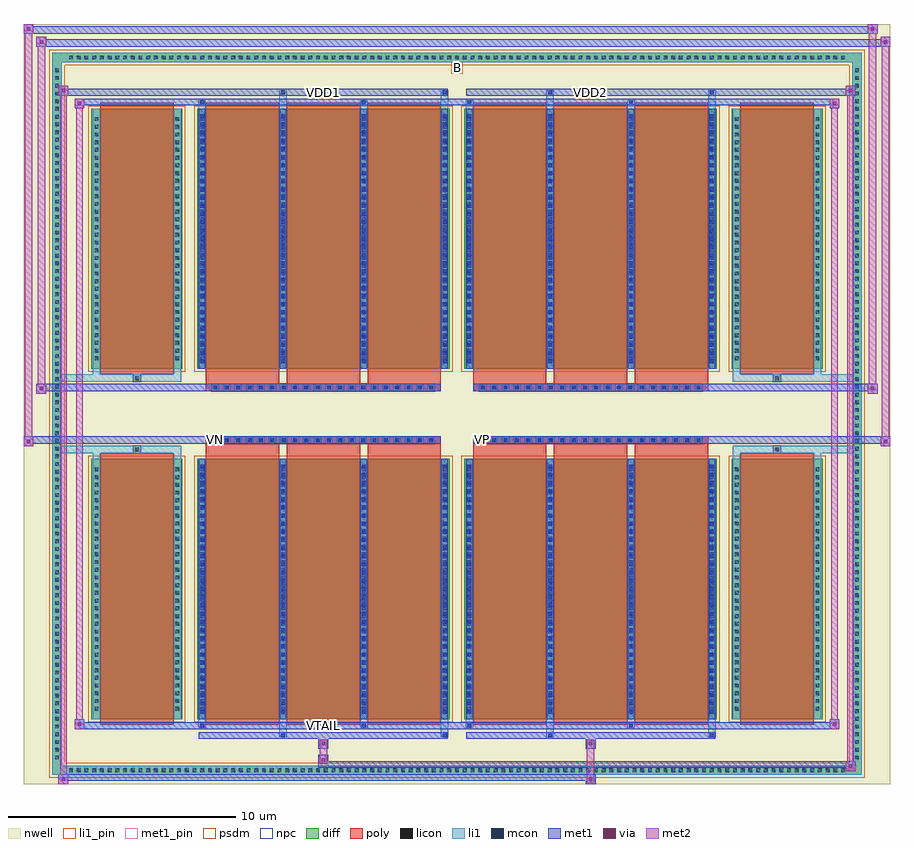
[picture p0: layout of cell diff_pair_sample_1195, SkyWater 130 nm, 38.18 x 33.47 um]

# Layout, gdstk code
import gdstk
lib = gdstk.Library(unit=1e-6, precision=5e-09)
def R(c, l, rs):  # rectangles x0, y0, x1, y1
    for r in rs: c.add(gdstk.rectangle(r[:2], r[2:], *l))
def A(c, l, x, y, w, h, nx, ny, dx, dy):  # array of equal rectangles
    R(c, l, [(x+i*dx, y+j*dy, x+i*dx+w, y+j*dy+h) for i in range(nx) for j in range(ny)])
def P(c, l, *ps):  # polygons
    for p in ps: c.add(gdstk.Polygon(p, *l))
nwell = (64, 20)
diff = (65, 20)
poly = (66, 20)
licon = (66, 44)
li1_pin = (67, 16)
li1 = (67, 20)
mcon = (67, 44)
met1_pin = (68, 16)
met1 = (68, 20)
via = (68, 44)
met2 = (69, 20)
psdm = (94, 20)
npc = (95, 20)

diff_pair_sample_1195 = lib.new_cell('diff_pair_sample_1195')
R(diff_pair_sample_1195, nwell, [(-19.09,-16.3,19.09,17.17), (-16.41,-14.49,-0.01,-0.795), (0.01,-14.49,16.41,-0.795), (-16.41,0.795,-0.01,14.49), (0.01,0.795,16.41,14.49)])
A(diff_pair_sample_1195, diff, -17.205, -15.9, 0.41, 0.41, 101, 2, 0.34, 31.39)
A(diff_pair_sample_1195, diff, -17.82, -15.335, 0.41, 0.41, 1, 90, 0, 0.34)
A(diff_pair_sample_1195, diff, 17.41, -15.335, 0.41, 0.41, 1, 90, 0, 0.34)
R(diff_pair_sample_1195, diff, [(-17.205,-15.9,17.205,-15.49), (-17.82,-15.335,-17.41,15.335), (17.41,-15.335,17.82,15.335), (-16.1,-13.445,-12.09,-1.985), (-11.45,-13.445,-0.32,-1.985), (0.32,-13.445,11.45,-1.985), (12.09,-13.445,16.1,-1.985), (-16.1,1.985,-12.09,13.445), (-11.45,1.985,-0.32,13.445), (0.32,1.985,11.45,13.445), (12.09,1.985,16.1,13.445), (-17.205,15.49,17.205,15.9)])
P(diff_pair_sample_1195, diff, [(17.82,15.9),(-17.82,15.9),(-17.82,-15.49),(-17.41,-15.49),(-17.41,15.49),(17.41,15.49),(17.41,-15.49),(-17.41,-15.49),(-17.82,-15.49),(-17.82,-15.9),(17.82,-15.9)])
A(diff_pair_sample_1195, poly, -11.06, -13.695, 3.23, 11.96, 3, 2, 3.56, 15.43)
A(diff_pair_sample_1195, poly, 0.71, -13.695, 3.23, 11.96, 3, 2, 3.56, 15.43)
A(diff_pair_sample_1195, poly, -11.06, -1.735, 3.23, 0.41, 3, 2, 3.56, 3.06)
A(diff_pair_sample_1195, poly, 0.71, -1.735, 3.23, 0.41, 3, 2, 3.56, 3.06)
A(diff_pair_sample_1195, poly, -10.8, -1.325, 0.33, 0.33, 20, 2, 0.5, 2.32)
A(diff_pair_sample_1195, poly, 0.97, -1.325, 0.33, 0.33, 20, 2, 0.5, 2.32)
R(diff_pair_sample_1195, poly, [(-15.71,-13.695,-12.48,-1.735), (12.48,-13.695,15.71,-1.735), (-14.26,-1.735,-13.93,-1.405), (-14.26,-1.735,-13.93,-1.405), (13.93,-1.735,14.26,-1.405), (13.93,-1.735,14.26,-1.405), (-11.06,-1.325,-0.71,-0.995), (0.71,-1.325,11.06,-0.995), (-11.06,0.995,-0.71,1.325), (0.71,0.995,11.06,1.325), (-14.26,1.405,-13.93,1.735), (-14.26,1.405,-13.93,1.735), (13.93,1.405,14.26,1.735), (13.93,1.405,14.26,1.735), (-15.71,1.735,-12.48,13.695), (12.48,1.735,15.71,13.695)])
A(diff_pair_sample_1195, licon, -17.085, -15.78, 0.17, 0.17, 101, 2, 0.34, 31.39)
A(diff_pair_sample_1195, licon, -17.7, -15.215, 0.17, 0.17, 1, 90, 0, 0.34)
A(diff_pair_sample_1195, licon, 17.53, -15.215, 0.17, 0.17, 1, 90, 0, 0.34)
A(diff_pair_sample_1195, licon, -15.96, -13.07, 0.17, 0.17, 1, 32, 0, 0.34)
A(diff_pair_sample_1195, licon, -12.4, -13.07, 0.17, 0.17, 1, 32, 0, 0.34)
A(diff_pair_sample_1195, licon, -11.31, -13.07, 0.17, 0.17, 4, 32, 3.56, 0.34)
A(diff_pair_sample_1195, licon, 0.46, -13.07, 0.17, 0.17, 4, 32, 3.56, 0.34)
A(diff_pair_sample_1195, licon, 12.23, -13.07, 0.17, 0.17, 1, 32, 0, 0.34)
A(diff_pair_sample_1195, licon, 15.79, -13.07, 0.17, 0.17, 1, 32, 0, 0.34)
A(diff_pair_sample_1195, licon, -10.72, -1.245, 0.17, 0.17, 20, 2, 0.5, 2.32)
A(diff_pair_sample_1195, licon, 1.05, -1.245, 0.17, 0.17, 20, 2, 0.5, 2.32)
A(diff_pair_sample_1195, licon, -15.96, 2.36, 0.17, 0.17, 1, 32, 0, 0.34)
A(diff_pair_sample_1195, licon, -12.4, 2.36, 0.17, 0.17, 1, 32, 0, 0.34)
A(diff_pair_sample_1195, licon, -11.31, 2.36, 0.17, 0.17, 4, 32, 3.56, 0.34)
A(diff_pair_sample_1195, licon, 0.46, 2.36, 0.17, 0.17, 4, 32, 3.56, 0.34)
A(diff_pair_sample_1195, licon, 12.23, 2.36, 0.17, 0.17, 1, 32, 0, 0.34)
A(diff_pair_sample_1195, licon, 15.79, 2.36, 0.17, 0.17, 1, 32, 0, 0.34)
R(diff_pair_sample_1195, licon, [(-14.18,-1.655,-14.01,-1.485), (14.01,-1.655,14.18,-1.485), (-14.18,1.485,-14.01,1.655), (14.01,1.485,14.18,1.655)])
R(diff_pair_sample_1195, li1_pin, [(-0.25,14.99,0.25,15.49)])
A(diff_pair_sample_1195, li1, -17.165, -15.86, 0.33, 0.33, 101, 2, 0.34, 31.39)
A(diff_pair_sample_1195, li1, -17.78, -15.295, 0.33, 0.33, 1, 90, 0, 0.34)
A(diff_pair_sample_1195, li1, 17.45, -15.295, 0.33, 0.33, 1, 90, 0, 0.34)
A(diff_pair_sample_1195, li1, -11.39, -13.445, 0.33, 11.46, 4, 2, 3.56, 15.43)
A(diff_pair_sample_1195, li1, 0.38, -13.445, 0.33, 11.46, 4, 2, 3.56, 15.43)
A(diff_pair_sample_1195, li1, -11.31, -13.2, 0.17, 0.17, 4, 31, 3.56, 0.36)
A(diff_pair_sample_1195, li1, -11.31, -13.2, 0.17, 10.97, 4, 2, 3.56, 15.43)
A(diff_pair_sample_1195, li1, 0.46, -13.2, 0.17, 0.17, 4, 31, 3.56, 0.36)
A(diff_pair_sample_1195, li1, 0.46, -13.2, 0.17, 10.97, 4, 2, 3.56, 15.43)
A(diff_pair_sample_1195, li1, -16.04, -13.15, 0.33, 0.33, 1, 32, 0, 0.34)
A(diff_pair_sample_1195, li1, -12.48, -13.15, 0.33, 0.33, 1, 32, 0, 0.34)
A(diff_pair_sample_1195, li1, -11.39, -13.15, 0.33, 0.33, 4, 32, 3.56, 0.34)
A(diff_pair_sample_1195, li1, 0.38, -13.15, 0.33, 0.33, 4, 32, 3.56, 0.34)
A(diff_pair_sample_1195, li1, 12.15, -13.15, 0.33, 0.33, 1, 32, 0, 0.34)
A(diff_pair_sample_1195, li1, 15.71, -13.15, 0.33, 0.33, 1, 32, 0, 0.34)
A(diff_pair_sample_1195, li1, -10.8, -1.325, 0.33, 0.33, 20, 2, 0.5, 2.32)
A(diff_pair_sample_1195, li1, 0.97, -1.325, 0.33, 0.33, 20, 2, 0.5, 2.32)
A(diff_pair_sample_1195, li1, -11.31, 2.23, 0.17, 0.17, 4, 31, 3.56, 0.36)
A(diff_pair_sample_1195, li1, 0.46, 2.23, 0.17, 0.17, 4, 31, 3.56, 0.36)
A(diff_pair_sample_1195, li1, -16.04, 2.28, 0.33, 0.33, 1, 32, 0, 0.34)
A(diff_pair_sample_1195, li1, -12.48, 2.28, 0.33, 0.33, 1, 32, 0, 0.34)
A(diff_pair_sample_1195, li1, -11.39, 2.28, 0.33, 0.33, 4, 32, 3.56, 0.34)
A(diff_pair_sample_1195, li1, 0.38, 2.28, 0.33, 0.33, 4, 32, 3.56, 0.34)
A(diff_pair_sample_1195, li1, 12.15, 2.28, 0.33, 0.33, 1, 32, 0, 0.34)
A(diff_pair_sample_1195, li1, 15.71, 2.28, 0.33, 0.33, 1, 32, 0, 0.34)
R(diff_pair_sample_1195, li1, [(-17.82,-15.9,-17.41,-15.49), (-17.82,-15.9,-17.41,-15.49), (-17.41,-15.9,17.41,-15.49), (17.41,-15.9,17.82,-15.49), (17.41,-15.9,17.82,-15.49), (-17.82,-15.49,-17.41,15.49), (17.41,-15.49,17.82,15.49), (-7.83,-14.25,-7.5,-13.445), (-7.75,-14.25,-7.58,-14.08), (-0.71,-14.25,-0.38,-13.445), (-0.63,-14.25,-0.46,-14.08), (3.94,-14.25,4.27,-13.445), (4.02,-14.25,4.19,-14.08), (11.06,-14.25,11.39,-13.445), (11.14,-14.25,11.31,-14.08), (-11.39,-13.82,-11.06,-13.445), (-11.31,-13.82,-11.14,-13.65), (-4.27,-13.82,-3.94,-13.445), (-4.19,-13.82,-4.02,-13.65), (0.38,-13.82,0.71,-13.445), (0.46,-13.82,0.63,-13.65), (7.5,-13.82,7.83,-13.445), (7.58,-13.82,7.75,-13.65), (-16.04,-13.445,-15.71,-1.985), (-12.48,-13.445,-12.15,-1.985), (12.15,-13.445,12.48,-1.985), (15.71,-13.445,16.04,-1.985), (-16.04,-1.985,-15.71,-1.405), (-12.48,-1.985,-12.15,-1.405), (12.15,-1.985,12.48,-1.405), (15.71,-1.985,16.04,-1.405), (-17.82,-1.735,-14.26,-1.405), (-16.04,-1.735,-14.26,-1.405), (-14.26,-1.735,-13.93,-1.405), (-13.93,-1.735,-12.15,-1.405), (12.15,-1.735,13.93,-1.405), (13.93,-1.735,14.26,-1.405), (13.93,-1.735,17.82,-1.405), (14.26,-1.735,16.04,-1.405), (-17.82,1.405,-14.26,1.735), (-16.04,1.405,-14.26,1.735), (-16.04,1.405,-15.71,1.985), (-14.26,1.405,-13.93,1.735), (-13.93,1.405,-12.15,1.735), (-12.48,1.405,-12.15,1.985), (12.15,1.405,13.93,1.735), (12.15,1.405,12.48,1.985), (13.93,1.405,14.26,1.735), (13.93,1.405,17.82,1.735), (14.26,1.405,16.04,1.735), (15.71,1.405,16.04,1.985), (-16.04,1.985,-15.71,13.445), (-12.48,1.985,-12.15,13.445), (12.15,1.985,12.48,13.445), (15.71,1.985,16.04,13.445), (-11.39,13.445,-11.06,13.82), (-7.83,13.445,-7.5,14.25), (-4.27,13.445,-3.94,13.82), (-0.71,13.445,-0.38,14.25), (0.38,13.445,0.71,13.82), (3.94,13.445,4.27,14.25), (7.5,13.445,7.83,13.82), (11.06,13.445,11.39,14.25), (-11.31,13.65,-11.14,13.82), (-4.19,13.65,-4.02,13.82), (0.46,13.65,0.63,13.82), (7.58,13.65,7.75,13.82), (-7.75,14.08,-7.58,14.25), (-0.63,14.08,-0.46,14.25), (4.02,14.08,4.19,14.25), (11.14,14.08,11.31,14.25), (-17.82,15.49,-17.41,15.9), (-17.82,15.49,-17.41,15.9), (-17.41,15.49,17.41,15.9), (17.41,15.49,17.82,15.9), (17.41,15.49,17.82,15.9)])
A(diff_pair_sample_1195, mcon, -11.31, -13.2, 0.17, 0.17, 4, 31, 3.56, 0.36)
A(diff_pair_sample_1195, mcon, 0.46, -13.2, 0.17, 0.17, 4, 31, 3.56, 0.36)
A(diff_pair_sample_1195, mcon, -10.72, -1.245, 0.17, 0.17, 20, 2, 0.5, 2.32)
A(diff_pair_sample_1195, mcon, 1.05, -1.245, 0.17, 0.17, 20, 2, 0.5, 2.32)
A(diff_pair_sample_1195, mcon, -11.31, 2.23, 0.17, 0.17, 4, 31, 3.56, 0.36)
A(diff_pair_sample_1195, mcon, 0.46, 2.23, 0.17, 0.17, 4, 31, 3.56, 0.36)
R(diff_pair_sample_1195, mcon, [(-7.75,-14.25,-7.58,-14.08), (-0.63,-14.25,-0.46,-14.08), (4.02,-14.25,4.19,-14.08), (11.14,-14.25,11.31,-14.08), (-11.31,-13.82,-11.14,-13.65), (-4.19,-13.82,-4.02,-13.65), (0.46,-13.82,0.63,-13.65), (7.58,-13.82,7.75,-13.65), (-11.31,13.65,-11.14,13.82), (-4.19,13.65,-4.02,13.82), (0.46,13.65,0.63,13.82), (7.58,13.65,7.75,13.82), (-7.75,14.08,-7.58,14.25), (-0.63,14.08,-0.46,14.25), (4.02,14.08,4.19,14.25), (11.14,14.08,11.31,14.25)])
R(diff_pair_sample_1195, met1_pin, [(-6.02,-13.86,-5.75,-13.59), (-10.77,-1.285,-10.5,-1.015), (1,-1.285,1.27,-1.015), (-6.02,14.04,-5.75,14.31), (5.75,14.04,6.02,14.31)])
A(diff_pair_sample_1195, met1, -11.37, -13.445, 0.29, 11.46, 4, 2, 3.56, 15.43)
A(diff_pair_sample_1195, met1, 0.4, -13.445, 0.29, 11.46, 4, 2, 3.56, 15.43)
A(diff_pair_sample_1195, met1, -11.37, -13.26, 0.29, 0.29, 4, 31, 3.56, 0.36)
A(diff_pair_sample_1195, met1, 0.4, -13.26, 0.29, 0.29, 4, 31, 3.56, 0.36)
A(diff_pair_sample_1195, met1, -10.78, -1.305, 0.29, 0.29, 20, 2, 0.5, 2.32)
A(diff_pair_sample_1195, met1, 0.99, -1.305, 0.29, 0.29, 20, 2, 0.5, 2.32)
A(diff_pair_sample_1195, met1, -11.37, 2.17, 0.29, 0.29, 4, 31, 3.56, 0.36)
A(diff_pair_sample_1195, met1, 0.4, 2.17, 0.29, 0.29, 4, 31, 3.56, 0.36)
R(diff_pair_sample_1195, met1, [(-17.55,-16.3,-17.12,-15.87), (5.67,-16.3,6.1,-15.87), (-17.55,-16.16,6.1,-15.87), (17.12,-15.73,17.55,-15.3), (-6.1,-15.59,17.55,-15.3), (-6.1,-15.45,-5.67,-15.02), (-6.1,-14.74,-5.67,-14.31), (5.67,-14.74,6.1,-14.31), (-11.37,-14.31,-0.4,-14.02), (-7.81,-14.31,-7.52,-14.02), (-0.69,-14.31,-0.4,-14.02), (0.4,-14.31,11.37,-14.02), (3.96,-14.31,4.25,-14.02), (11.08,-14.31,11.37,-14.02), (-16.84,-13.88,-16.41,-13.45), (-16.84,-13.88,-11.37,-13.59), (-11.37,-13.88,-11.08,-13.59), (-11.37,-13.88,-0.4,-13.59), (-4.25,-13.88,-3.96,-13.59), (-0.4,-13.88,0.4,-13.59), (0.4,-13.88,0.69,-13.59), (0.4,-13.88,11.37,-13.59), (7.52,-13.88,7.81,-13.59), (11.37,-13.88,16.84,-13.59), (16.41,-13.88,16.84,-13.45), (-19.09,-1.425,-18.66,-0.995), (18.66,-1.425,19.09,-0.995), (-19.09,-1.325,-0.71,-0.995), (-11.06,-1.325,-0.71,-0.995), (0.71,-1.325,11.06,-0.995), (0.71,-1.325,19.09,-0.995), (-18.52,0.895,-18.09,1.325), (18.09,0.895,18.52,1.325), (-18.52,0.995,-11.06,1.325), (-11.06,0.995,-0.71,1.325), (0.71,0.995,11.06,1.325), (11.06,0.995,18.52,1.325), (-16.84,13.45,-16.41,13.88), (16.41,13.45,16.84,13.88), (-16.84,13.59,-11.37,13.88), (-11.37,13.59,-11.08,13.88), (-11.37,13.59,-0.4,13.88), (-4.25,13.59,-3.96,13.88), (-0.4,13.59,0.4,13.88), (0.4,13.59,0.69,13.88), (0.4,13.59,11.37,13.88), (7.52,13.59,7.81,13.88), (11.37,13.59,16.84,13.88), (-17.55,14.02,-17.12,14.45), (-17.55,14.02,-11.37,14.31), (-11.37,14.02,-0.4,14.31), (-7.81,14.02,-7.52,14.31), (-0.69,14.02,-0.4,14.31), (0.4,14.02,11.37,14.31), (3.96,14.02,4.25,14.31), (11.08,14.02,11.37,14.31), (11.37,14.02,17.55,14.31), (17.12,14.02,17.55,14.45), (-18.52,16.17,-18.09,16.6), (-18.52,16.17,-16.41,16.5), (-16.41,16.17,16.41,16.5), (16.41,16.17,19.09,16.5), (18.66,16.17,19.09,16.6), (-19.09,16.74,-18.66,17.17), (-19.09,16.74,-16.41,17.07), (-16.41,16.74,16.41,17.07), (16.41,16.74,18.52,17.07), (18.09,16.74,18.52,17.17)])
R(diff_pair_sample_1195, via, [(-17.41,-16.16,-17.26,-16.01), (5.81,-16.16,5.96,-16.01), (17.26,-15.59,17.41,-15.44), (-5.96,-15.31,-5.81,-15.16), (-5.96,-14.6,-5.81,-14.45), (5.81,-14.6,5.96,-14.45), (-16.7,-13.74,-16.55,-13.59), (16.55,-13.74,16.7,-13.59), (-18.95,-1.285,-18.8,-1.135), (18.8,-1.285,18.95,-1.135), (-18.38,1.035,-18.23,1.185), (18.23,1.035,18.38,1.185), (-16.7,13.59,-16.55,13.74), (16.55,13.59,16.7,13.74), (-17.41,14.16,-17.26,14.31), (17.26,14.16,17.41,14.31), (-18.38,16.31,-18.23,16.46), (18.8,16.31,18.95,16.46), (-18.95,16.88,-18.8,17.03), (18.23,16.88,18.38,17.03)])
R(diff_pair_sample_1195, met2, [(-17.55,-16.3,-17.12,-15.87), (-17.48,-16.3,-17.19,14.45), (-17.19,-16.3,-17.12,-15.87), (-17.5,-16.25,-17.17,-15.92), (5.72,-16.25,6.05,-15.92), (5.72,-15.92,6.05,-14.69), (17.12,-15.73,17.55,-15.3), (17.19,-15.73,17.48,14.45), (17.48,-15.73,17.55,-15.3), (17.17,-15.68,17.5,-15.35), (-6.05,-15.4,-5.72,-15.07), (-6.05,-15.07,-5.72,-14.69), (-6.05,-14.69,-5.72,-14.36), (5.72,-14.69,6.05,-14.36), (-16.84,-13.88,-16.41,-13.45), (-16.77,-13.88,-16.48,13.88), (-16.48,-13.88,-16.41,-13.45), (16.41,-13.88,16.84,-13.45), (16.48,-13.88,16.77,13.88), (16.77,-13.88,16.84,-13.45), (-16.79,-13.83,-16.46,-13.5), (16.46,-13.83,16.79,-13.5), (-19.09,-1.425,-18.66,-0.995), (-19.04,-1.425,-18.71,17.17), (-18.71,-1.425,-18.66,-0.995), (18.66,-1.425,19.09,-0.995), (18.71,-1.425,19.04,16.6), (19.04,-1.425,19.09,-0.995), (-19.04,-1.375,-18.71,-1.045), (18.71,-1.375,19.04,-1.045), (-18.52,0.895,-18.09,1.325), (-18.47,0.895,-18.14,16.6), (-18.14,0.895,-18.09,1.325), (18.09,0.895,18.52,1.325), (18.14,0.895,18.47,17.17), (18.47,0.895,18.52,1.325), (-18.47,0.945,-18.14,1.275), (18.14,0.945,18.47,1.275), (-16.84,13.45,-16.41,13.88), (-16.48,13.45,-16.41,13.88), (16.41,13.45,16.84,13.88), (16.77,13.45,16.84,13.88), (-16.79,13.5,-16.46,13.83), (16.46,13.5,16.79,13.83), (-17.55,14.02,-17.12,14.45), (-17.19,14.02,-17.12,14.45), (17.12,14.02,17.55,14.45), (17.48,14.02,17.55,14.45), (-17.5,14.07,-17.17,14.4), (17.17,14.07,17.5,14.4), (-18.52,16.17,-18.09,16.6), (-18.14,16.17,-18.09,16.6), (18.66,16.17,19.09,16.6), (19.04,16.17,19.09,16.6), (-18.47,16.22,-18.14,16.55), (18.71,16.22,19.04,16.55), (-19.09,16.74,-18.66,17.17), (-18.71,16.74,-18.66,17.17), (18.09,16.74,18.52,17.17), (18.47,16.74,18.52,17.17), (-19.04,16.79,-18.71,17.12), (18.14,16.79,18.47,17.12)])
R(diff_pair_sample_1195, psdm, [(-16.23,-13.575,-11.96,-1.855), (-11.58,-13.575,-0.19,-1.855), (0.19,-13.575,11.58,-1.855), (11.96,-13.575,16.23,-1.855), (-16.23,1.855,-11.96,13.575), (-11.58,1.855,-0.19,13.575), (0.19,1.855,11.58,13.575), (11.96,1.855,16.23,13.575)])
P(diff_pair_sample_1195, psdm, [(17.95,16.03),(-17.95,16.03),(-17.95,-15.36),(-17.28,-15.36),(-17.28,15.36),(17.28,15.36),(17.28,-15.36),(-17.28,-15.36),(-17.95,-15.36),(-17.95,-16.03),(17.95,-16.03)])
A(diff_pair_sample_1195, npc, -10.82, -1.345, 0.37, 0.37, 20, 2, 0.5, 2.32)
A(diff_pair_sample_1195, npc, 0.95, -1.345, 0.37, 0.37, 20, 2, 0.5, 2.32)
R(diff_pair_sample_1195, npc, [(-14.28,-1.755,-13.91,-1.385), (13.91,-1.755,14.28,-1.385), (-10.82,-1.345,-9.95,-0.975), (-10.82,-1.345,-9.95,-0.975), (-10.32,-1.345,-9.45,-0.975), (-10.32,-1.345,-9.45,-0.975), (-9.82,-1.345,-8.95,-0.975), (-9.82,-1.345,-8.95,-0.975), (-9.32,-1.345,-8.45,-0.975), (-9.32,-1.345,-8.45,-0.975), (-8.82,-1.345,-7.95,-0.975), (-8.82,-1.345,-7.95,-0.975), (-8.32,-1.345,-7.45,-0.975), (-8.32,-1.345,-7.45,-0.975), (-7.82,-1.345,-6.95,-0.975), (-7.82,-1.345,-6.95,-0.975), (-7.32,-1.345,-6.45,-0.975), (-7.32,-1.345,-6.45,-0.975), (-6.82,-1.345,-5.95,-0.975), (-6.82,-1.345,-5.95,-0.975), (-6.32,-1.345,-5.45,-0.975), (-6.32,-1.345,-5.45,-0.975), (-5.82,-1.345,-4.95,-0.975), (-5.82,-1.345,-4.95,-0.975), (-5.32,-1.345,-4.45,-0.975), (-5.32,-1.345,-4.45,-0.975), (-4.82,-1.345,-3.95,-0.975), (-4.82,-1.345,-3.95,-0.975), (-4.32,-1.345,-3.45,-0.975), (-4.32,-1.345,-3.45,-0.975), (-3.82,-1.345,-2.95,-0.975), (-3.82,-1.345,-2.95,-0.975), (-3.32,-1.345,-2.45,-0.975), (-3.32,-1.345,-2.45,-0.975), (-2.82,-1.345,-1.95,-0.975), (-2.82,-1.345,-1.95,-0.975), (-2.32,-1.345,-1.45,-0.975), (-2.32,-1.345,-1.45,-0.975), (-1.82,-1.345,-0.95,-0.975), (-1.82,-1.345,-0.95,-0.975), (0.95,-1.345,1.82,-0.975), (0.95,-1.345,1.82,-0.975), (1.45,-1.345,2.32,-0.975), (1.45,-1.345,2.32,-0.975), (1.95,-1.345,2.82,-0.975), (1.95,-1.345,2.82,-0.975), (2.45,-1.345,3.32,-0.975), (2.45,-1.345,3.32,-0.975), (2.95,-1.345,3.82,-0.975), (2.95,-1.345,3.82,-0.975), (3.45,-1.345,4.32,-0.975), (3.45,-1.345,4.32,-0.975), (3.95,-1.345,4.82,-0.975), (3.95,-1.345,4.82,-0.975), (4.45,-1.345,5.32,-0.975), (4.45,-1.345,5.32,-0.975), (4.95,-1.345,5.82,-0.975), (4.95,-1.345,5.82,-0.975), (5.45,-1.345,6.32,-0.975), (5.45,-1.345,6.32,-0.975), (5.95,-1.345,6.82,-0.975), (5.95,-1.345,6.82,-0.975), (6.45,-1.345,7.32,-0.975), (6.45,-1.345,7.32,-0.975), (6.95,-1.345,7.82,-0.975), (6.95,-1.345,7.82,-0.975), (7.45,-1.345,8.32,-0.975), (7.45,-1.345,8.32,-0.975), (7.95,-1.345,8.82,-0.975), (7.95,-1.345,8.82,-0.975), (8.45,-1.345,9.32,-0.975), (8.45,-1.345,9.32,-0.975), (8.95,-1.345,9.82,-0.975), (8.95,-1.345,9.82,-0.975), (9.45,-1.345,10.32,-0.975), (9.45,-1.345,10.32,-0.975), (9.95,-1.345,10.82,-0.975), (9.95,-1.345,10.82,-0.975), (-10.82,0.975,-9.95,1.345), (-10.82,0.975,-9.95,1.345), (-10.32,0.975,-9.45,1.345), (-10.32,0.975,-9.45,1.345), (-9.82,0.975,-8.95,1.345), (-9.82,0.975,-8.95,1.345), (-9.32,0.975,-8.45,1.345), (-9.32,0.975,-8.45,1.345), (-8.82,0.975,-7.95,1.345), (-8.82,0.975,-7.95,1.345), (-8.32,0.975,-7.45,1.345), (-8.32,0.975,-7.45,1.345), (-7.82,0.975,-6.95,1.345), (-7.82,0.975,-6.95,1.345), (-7.32,0.975,-6.45,1.345), (-7.32,0.975,-6.45,1.345), (-6.82,0.975,-5.95,1.345), (-6.82,0.975,-5.95,1.345), (-6.32,0.975,-5.45,1.345), (-6.32,0.975,-5.45,1.345), (-5.82,0.975,-4.95,1.345), (-5.82,0.975,-4.95,1.345), (-5.32,0.975,-4.45,1.345), (-5.32,0.975,-4.45,1.345), (-4.82,0.975,-3.95,1.345), (-4.82,0.975,-3.95,1.345), (-4.32,0.975,-3.45,1.345), (-4.32,0.975,-3.45,1.345), (-3.82,0.975,-2.95,1.345), (-3.82,0.975,-2.95,1.345), (-3.32,0.975,-2.45,1.345), (-3.32,0.975,-2.45,1.345), (-2.82,0.975,-1.95,1.345), (-2.82,0.975,-1.95,1.345), (-2.32,0.975,-1.45,1.345), (-2.32,0.975,-1.45,1.345), (-1.82,0.975,-0.95,1.345), (-1.82,0.975,-0.95,1.345), (0.95,0.975,1.82,1.345), (0.95,0.975,1.82,1.345), (1.45,0.975,2.32,1.345), (1.45,0.975,2.32,1.345), (1.95,0.975,2.82,1.345), (1.95,0.975,2.82,1.345), (2.45,0.975,3.32,1.345), (2.45,0.975,3.32,1.345), (2.95,0.975,3.82,1.345), (2.95,0.975,3.82,1.345), (3.45,0.975,4.32,1.345), (3.45,0.975,4.32,1.345), (3.95,0.975,4.82,1.345), (3.95,0.975,4.82,1.345), (4.45,0.975,5.32,1.345), (4.45,0.975,5.32,1.345), (4.95,0.975,5.82,1.345), (4.95,0.975,5.82,1.345), (5.45,0.975,6.32,1.345), (5.45,0.975,6.32,1.345), (5.95,0.975,6.82,1.345), (5.95,0.975,6.82,1.345), (6.45,0.975,7.32,1.345), (6.45,0.975,7.32,1.345), (6.95,0.975,7.82,1.345), (6.95,0.975,7.82,1.345), (7.45,0.975,8.32,1.345), (7.45,0.975,8.32,1.345), (7.95,0.975,8.82,1.345), (7.95,0.975,8.82,1.345), (8.45,0.975,9.32,1.345), (8.45,0.975,9.32,1.345), (8.95,0.975,9.82,1.345), (8.95,0.975,9.82,1.345), (9.45,0.975,10.32,1.345), (9.45,0.975,10.32,1.345), (9.95,0.975,10.82,1.345), (9.95,0.975,10.82,1.345), (-14.28,1.385,-13.91,1.755), (13.91,1.385,14.28,1.755)])
diff_pair_sample_1195.add(gdstk.Label('VTAIL', (-5.885,-13.725), layer=68, texttype=5))
diff_pair_sample_1195.add(gdstk.Label('VN', (-10.635,-1.15), layer=68, texttype=5))
diff_pair_sample_1195.add(gdstk.Label('VP', (1.135,-1.15), layer=68, texttype=5))
diff_pair_sample_1195.add(gdstk.Label('B', (0,15.24), layer=67, texttype=5))
diff_pair_sample_1195.add(gdstk.Label('VDD2', (5.885,14.175), layer=68, texttype=5))
diff_pair_sample_1195.add(gdstk.Label('VDD1', (-5.885,14.175), layer=68, texttype=5))

lib.write_gds('diff_pair_sample_1195.gds')
